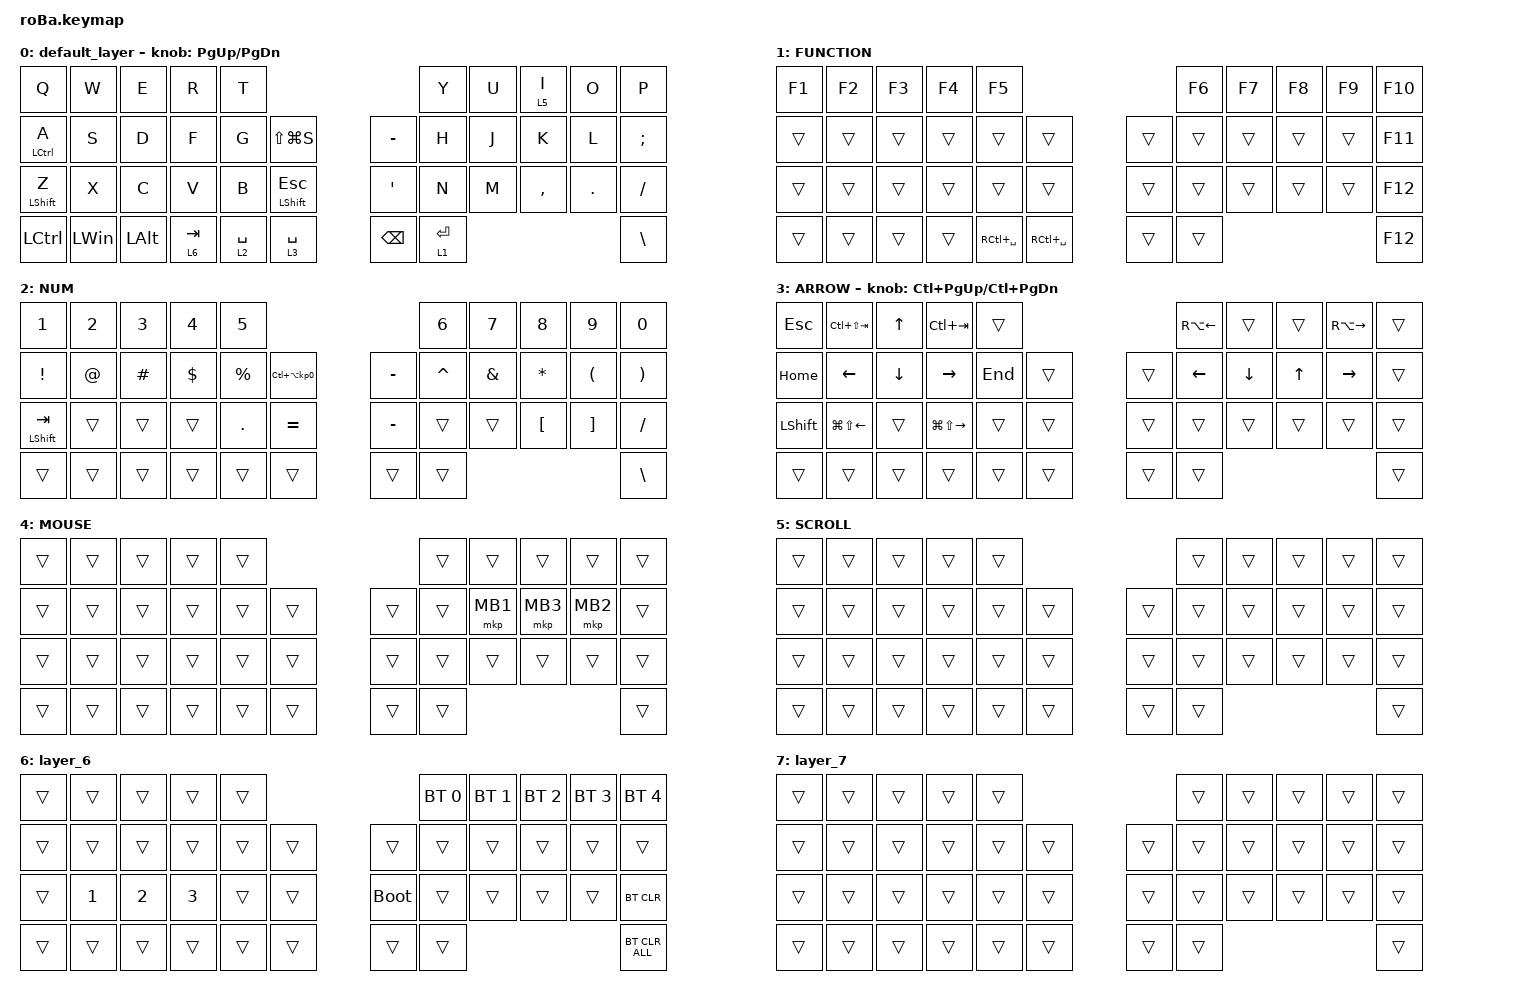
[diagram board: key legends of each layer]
#include <dt-bindings/zmk/mouse.h>
#include <behaviors.dtsi>
#include <dt-bindings/zmk/bt.h>
#include <dt-bindings/zmk/keys.h>

#define MOUSE 4
#define SCROLL 5
#define NUM 6

&mt {
    flavor = "balanced";
    quick-tap-ms = <0>;
};

/ {
    combos {
        compatible = "zmk,combos";

        tab {
            bindings = <&kp TAB>;
            key-positions = <11 12>;
        };

        shift_tab {
            bindings = <&kp LS(TAB)>;
            key-positions = <12 13>;
        };

        muhennkann {
            bindings = <&to_layer_0 INT_MUHENKAN>;
            key-positions = <11 10>;
        };

        double_quotation {
            bindings = <&kp DOUBLE_QUOTES>;
            key-positions = <20 21>;
        };

        eq {
            bindings = <&kp EQUAL>;
            key-positions = <24 25>;
        };
    };

    macros {
        to_layer_0: to_layer_0 {
            compatible = "zmk,behavior-macro-one-param";
            #binding-cells = <1>;
            bindings = <&to 0 &macro_param_1to1 &kp MACRO_PLACEHOLDER>;
            label = "TO_LAYER_0";
        };
    };

    behaviors {
        lt_to_layer_0: lt_to_layer_0 {
            compatible = "zmk,behavior-hold-tap";
            label = "LAYER_TAP_TO_0";
            bindings = <&mo>, <&to_layer_0>;

            #binding-cells = <2>;
            tapping-term-ms = <200>;
        };
    };

    keymap {
        compatible = "zmk,keymap";

        default_layer {
            bindings = <
&kp Q             &kp W         &kp E         &kp R                 &kp T                                                   &kp Y        &kp U  &lt 5 I    &kp O    &kp P
&mt LCTRL A       &kp S         &kp D         &kp F                 &kp G        &kp LS(LG(S))               &kp MINUS      &kp H        &kp J  &kp K      &kp L    &kp SEMICOLON
&mt LEFT_SHIFT Z  &kp X         &kp C         &kp V                 &kp B        &mt LEFT_SHIFT ESC          &kp SQT        &kp N        &kp M  &kp COMMA  &kp DOT  &kp SLASH
&kp LCTRL         &kp LEFT_WIN  &kp LEFT_ALT  &lt_to_layer_0 6 TAB  &lt 2 SPACE  &lt_to_layer_0 3 SPACE      &kp BACKSPACE  &lt 1 ENTER                             &kp BACKSLASH
            >;

            sensor-bindings = <&inc_dec_kp PG_UP PAGE_DOWN>;
        };

        FUNCTION {
            bindings = <
&kp F1  &kp F2  &kp F3  &kp F4  &kp F5                                    &kp F6  &kp F7  &kp F8  &kp F9  &kp F10
&trans  &trans  &trans  &trans  &trans         &trans             &trans  &trans  &trans  &trans  &trans  &kp F11
&trans  &trans  &trans  &trans  &trans         &trans             &trans  &trans  &trans  &trans  &trans  &kp F12
&trans  &trans  &trans  &trans  &kp RC(SPACE)  &kp RC(SPACE)      &trans  &trans                          &kp F12
            >;
        };

        NUM {
            bindings = <
&kp N1              &kp NUMBER_2  &kp NUMBER_3  &kp NUMBER_4  &kp N5                                               &kp NUMBER_6  &kp N7         &kp N8            &kp N9                &kp N0
&kp EXCLAMATION     &kp AT_SIGN   &kp HASH      &kp DOLLAR    &kp PERCENT  &kp LC(LA(KP_NUMBER_0))      &kp MINUS  &kp CARET     &kp AMPERSAND  &kp ASTERISK      &kp LEFT_PARENTHESIS  &kp RIGHT_PARENTHESIS
&mt LEFT_SHIFT TAB  &trans        &trans        &trans        &kp PERIOD   &kp EQUAL                    &kp MINUS  &trans        &trans         &kp LEFT_BRACKET  &kp RIGHT_BRACKET     &kp SLASH
&trans              &trans        &trans        &trans        &trans       &trans                       &trans     &trans                                                               &kp BACKSLASH
            >;
        };

        ARROW {
            bindings = <
&kp ESCAPE      &kp LC(LS(TAB))         &kp UP_ARROW    &kp LC(TAB)              &trans                       &kp RA(LEFT_ARROW)  &trans          &trans        &kp RA(RIGHT_ARROW)  &trans
&kp HOME        &kp LEFT_ARROW          &kp DOWN_ARROW  &kp RIGHT_ARROW          &kp END  &trans      &trans  &kp LEFT_ARROW      &kp DOWN_ARROW  &kp UP_ARROW  &kp RIGHT_ARROW      &trans
&kp LEFT_SHIFT  &kp LG(LS(LEFT_ARROW))  &trans          &kp LG(LS(RIGHT_ARROW))  &trans   &trans      &trans  &trans              &trans          &trans        &trans               &trans
&trans          &trans                  &trans          &trans                   &trans   &trans      &trans  &trans                                                                 &trans
            >;

            sensor-bindings = <&inc_dec_kp LC(PAGE_UP) LC(PAGE_DOWN)>;
        };

        MOUSE {
            bindings = <
&trans  &trans  &trans  &trans  &trans                      &trans  &trans    &trans    &trans    &trans
&trans  &trans  &trans  &trans  &trans  &trans      &trans  &trans  &mkp MB1  &mkp MB3  &mkp MB2  &trans
&trans  &trans  &trans  &trans  &trans  &trans      &trans  &trans  &trans    &trans    &trans    &trans
&trans  &trans  &trans  &trans  &trans  &trans      &trans  &trans                                &trans
            >;
        };

        SCROLL {
            bindings = <
&trans  &trans  &trans  &trans  &trans                      &trans  &trans  &trans  &trans  &trans
&trans  &trans  &trans  &trans  &trans  &trans      &trans  &trans  &trans  &trans  &trans  &trans
&trans  &trans  &trans  &trans  &trans  &trans      &trans  &trans  &trans  &trans  &trans  &trans
&trans  &trans  &trans  &trans  &trans  &trans      &trans  &trans                          &trans
            >;
        };

        layer_6 {
            bindings = <
&trans  &trans        &trans        &trans        &trans                           &bt BT_SEL 0  &bt BT_SEL 1  &bt BT_SEL 2  &bt BT_SEL 3  &bt BT_SEL 4
&trans  &trans        &trans        &trans        &trans  &trans      &trans       &trans        &trans        &trans        &trans        &trans
&trans  &kp NUMBER_1  &kp NUMBER_2  &kp NUMBER_3  &trans  &trans      &bootloader  &trans        &trans        &trans        &trans        &bt BT_CLR
&trans  &trans        &trans        &trans        &trans  &trans      &trans       &trans                                                  &bt BT_CLR_ALL
            >;
        };

        layer_7 {
            bindings = <
&trans  &trans  &trans  &trans  &trans                      &trans  &trans  &trans  &trans  &trans
&trans  &trans  &trans  &trans  &trans  &trans      &trans  &trans  &trans  &trans  &trans  &trans
&trans  &trans  &trans  &trans  &trans  &trans      &trans  &trans  &trans  &trans  &trans  &trans
&trans  &trans  &trans  &trans  &trans  &trans      &trans  &trans                          &trans
            >;
        };
    };
};
